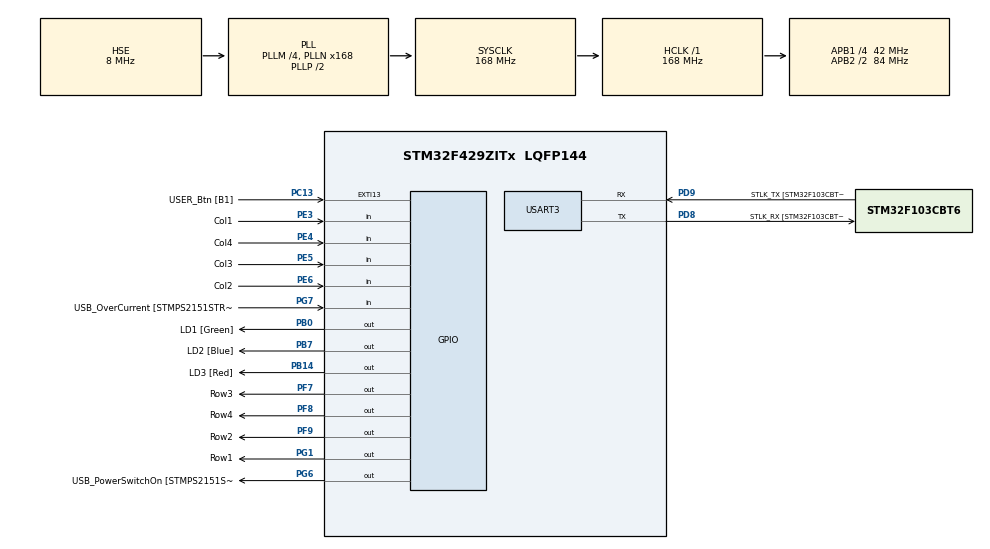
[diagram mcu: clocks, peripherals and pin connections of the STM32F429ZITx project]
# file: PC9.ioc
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Mcu.Family=STM32F4
Mcu.Name=STM32F429ZITx
Mcu.Package=LQFP144
NVIC.PriorityGroup=NVIC_PRIORITYGROUP_4
NVIC.TIM3_IRQn=true\:0\:0\:false\:false\:true\:true\:true\:true
PA1.GPIO_Label=RMII_REF_CLK [LAN8742A-CZ-TR_REFCLK0]
PA1.Signal=ETH_REF_CLK
PA10.GPIO_Label=USB_ID
PA10.Signal=USB_OTG_FS_ID
PA11.GPIO_Label=USB_DM
PA11.Signal=USB_OTG_FS_DM
PA12.GPIO_Label=USB_DP
PA12.Signal=USB_OTG_FS_DP
PA13.GPIO_Label=TMS
PA13.Mode=Serial_Wire
PA13.Signal=SYS_JTMS-SWDIO
PA14.GPIO_Label=TCK
PA14.Mode=Serial_Wire
PA14.Signal=SYS_JTCK-SWCLK
PA2.GPIO_Label=RMII_MDIO [LAN8742A-CZ-TR_MDIO]
PA2.Signal=ETH_MDIO
PA7.GPIO_Label=RMII_CRS_DV [LAN8742A-CZ-TR_CRS_DV]
PA7.Signal=ETH_CRS_DV
PA8.GPIO_Label=USB_SOF [TP1]
PA8.Signal=USB_OTG_FS_SOF
PA9.GPIO_Label=USB_VBUS
PA9.Signal=USB_OTG_FS_VBUS
PB0.GPIO_Label=LD1 [Green]
PB0.Signal=GPIO_Output
PB13.GPIO_Label=RMII_TXD1 [LAN8742A-CZ-TR_TXD1]
PB13.Signal=ETH_TXD1
PB14.GPIO_Label=LD3 [Red]
PB14.Signal=GPIO_Output
PB7.GPIO_Label=LD2 [Blue]
PB7.Signal=GPIO_Output
PC1.GPIO_Label=RMII_MDC [LAN8742A-CZ-TR_MDC]
PC1.Signal=ETH_MDC
PC13.GPIO_Label=USER_Btn [B1]
PC13.Signal=GPXTI13
PC14/OSC32_IN.Mode=LSE-External-Oscillator
PC14/OSC32_IN.Signal=RCC_OSC32_IN
PC15/OSC32_OUT.Mode=LSE-External-Oscillator
PC15/OSC32_OUT.Signal=RCC_OSC32_OUT
PC4.GPIO_Label=RMII_RXD0 [LAN8742A-CZ-TR_RXD0]
PC4.Signal=ETH_RXD0
PC5.GPIO_Label=RMII_RXD1 [LAN8742A-CZ-TR_RXD1]
PC5.Signal=ETH_RXD1
PD8.GPIO_Label=STLK_RX [STM32F103CBT6_PA3]
PD8.Mode=Asynchronous
PD8.Signal=USART3_TX
PD9.GPIO_Label=STLK_TX [STM32F103CBT6_PA2]
PD9.Mode=Asynchronous
PD9.Signal=USART3_RX
PE3.GPIO_Label=Col1
PE3.GPIO_PuPd=GPIO_PULLUP
PE3.Signal=GPIO_Input
PE4.GPIO_Label=Col4
PE4.GPIO_PuPd=GPIO_PULLUP
PE4.Signal=GPIO_Input
PE5.GPIO_Label=Col3
PE5.GPIO_PuPd=GPIO_PULLUP
PE5.Signal=GPIO_Input
PE6.GPIO_Label=Col2
PE6.GPIO_PuPd=GPIO_PULLUP
PE6.Signal=GPIO_Input
PF7.GPIO_Label=Row3
PF7.GPIO_ModeDefaultOutputPP=GPIO_MODE_OUTPUT_OD
PF7.GPIO_PuPd=GPIO_NOPULL
PF7.Signal=GPIO_Output
PF8.GPIO_Label=Row4
PF8.GPIO_ModeDefaultOutputPP=GPIO_MODE_OUTPUT_OD
PF8.GPIO_PuPd=GPIO_NOPULL
PF8.Signal=GPIO_Output
PF9.GPIO_Label=Row2
PF9.GPIO_ModeDefaultOutputPP=GPIO_MODE_OUTPUT_OD
PF9.GPIO_PuPd=GPIO_NOPULL
PF9.Signal=GPIO_Output
PG1.GPIO_Label=Row1
PG1.GPIO_ModeDefaultOutputPP=GPIO_MODE_OUTPUT_OD
PG1.GPIO_PuPd=GPIO_NOPULL
PG1.Signal=GPIO_Output
PG11.GPIO_Label=RMII_TX_EN [LAN8742A-CZ-TR_TXEN]
PG11.Signal=ETH_TX_EN
PG13.GPIO_Label=RMII_TXD0 [LAN8742A-CZ-TR_TXD0]
PG13.Signal=ETH_TXD0
PG6.GPIO_Label=USB_PowerSwitchOn [STMPS2151STR_EN]
PG6.Signal=GPIO_Output
PG7.GPIO_Label=USB_OverCurrent [STMPS2151STR_FAULT]
PG7.Signal=GPIO_Input
PH0/OSC_IN.GPIO_Label=MCO [STM32F103CBT6_PA8]
PH0/OSC_IN.Mode=HSE-External-Clock-Source
PH0/OSC_IN.Signal=RCC_OSC_IN
PH1/OSC_OUT.Mode=HSE-External-Clock-Source
PH1/OSC_OUT.Signal=RCC_OSC_OUT
ProjectManager.HeapSize=0x200
ProjectManager.StackSize=0x400
ProjectManager.TargetToolchain=STM32CubeIDE
RCC.48MHZClocksFreq_Value=48000000
RCC.AHBFreq_Value=168000000
RCC.APB1CLKDivider=RCC_HCLK_DIV4
RCC.APB1Freq_Value=42000000
RCC.APB1TimFreq_Value=84000000
RCC.APB2CLKDivider=RCC_HCLK_DIV2
RCC.APB2Freq_Value=84000000
RCC.APB2TimCLKDivider=2
RCC.APB2TimFreq_Value=168000000
RCC.CortexFreq_Value=168000000
RCC.HCLKFreq_Value=168000000
RCC.HSE_VALUE=8000000
RCC.HSI_VALUE=16000000
RCC.PLLM=4
RCC.PLLMUL=RCC_PLL_MUL9
RCC.PLLN=168
RCC.PLLQ=7
RCC.PLLSourceVirtual=RCC_PLLSOURCE_HSE
RCC.PRESCALERUSB=RCC_USBCLKSOURCE_PLL_DIV1_5
RCC.SYSCLKFreq_VALUE=168000000
RCC.SYSCLKSource=RCC_SYSCLKSOURCE_PLLCLK
RCC.SYSCLKSourceVirtual=RCC_SYSCLKSOURCE_PLLCLK
RCC.USBFreq_Value=48000000
RCC.VCOOutputFreq_Value=336000000
TIM3.AutoReloadPreload=TIM_AUTORELOAD_PRELOAD_DISABLE
TIM3.Period=100
TIM3.Prescaler=8399
USART3.VirtualMode=VM_ASYNC
VP_TIM3_VS_ClockSourceINT.Mode=Internal
board=NUCLEO-F429ZI

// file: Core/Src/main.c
/* USER CODE BEGIN Header */
/**
  ******************************************************************************
  * @file           : main.c
  * @brief          : Main program body
  ******************************************************************************
  * @attention
  *
  * Copyright (c) 2025 STMicroelectronics.
  * All rights reserved.
  *
  * This software is licensed under terms that can be found in the LICENSE file
  * in the root directory of this software component.
  * If no LICENSE file comes with this software, it is provided AS-IS.
  *
  ******************************************************************************
  */
/* USER CODE END Header */
#include "main.h"

/* USER CODE BEGIN Includes */
#include <stdio.h>
#include <string.h>
#include <stdint.h>

/* USER CODE END Includes */

TIM_HandleTypeDef htim3;

UART_HandleTypeDef huart3;

void SystemClock_Config(void);
static void MX_GPIO_Init(void);
static void MX_USART3_UART_Init(void);
static void MX_TIM3_Init(void);

/* USER CODE BEGIN 0 */
int __io_putchar(int ch)
{
	ITM_SendChar(ch);
	return 0;
}

volatile char key = 0;

const char correctSeq[] = {'1', '2', '3',  '4', '#'};

/* USER CODE END 0 */

int main(void)
{

  /* MCU Configuration--------------------------------------------------------*/

  /* Reset of all peripherals, Initializes the Flash interface and the Systick. */
  HAL_Init();

  /* Configure the system clock */
  SystemClock_Config();

  /* Initialize all configured peripherals */
  MX_GPIO_Init();
  MX_USART3_UART_Init();
  MX_TIM3_Init();
  /* USER CODE BEGIN 2 */
  HAL_TIM_Base_Start_IT(&htim3);

  /* USER CODE END 2 */

  /* Infinite loop */
  /* USER CODE BEGIN WHILE */
  while (1)
  {
	static uint8_t pressIndex = 0;
	static char seq[sizeof(correctSeq)];

	if(pressIndex == sizeof(correctSeq))
	{
		if(memcmp(seq, correctSeq, sizeof(correctSeq)) == 0)
		{
		  printf("Correct code entered!\n");
		  HAL_GPIO_WritePin(LD2_GPIO_Port, LD2_Pin, 1);
		  HAL_Delay(100);
		  HAL_GPIO_WritePin(LD2_GPIO_Port, LD2_Pin, 0);
		}
		else
		{
		  printf("Incorrect code entered!\n");
		  HAL_GPIO_WritePin(LD1_GPIO_Port, LD1_Pin, 1);
		  HAL_Delay(1000);
		  HAL_GPIO_WritePin(LD1_GPIO_Port, LD1_Pin, 0);
		}
		pressIndex = 0;
	}

  static uint32_t lastPressTime = 0;
  if (HAL_GetTick() - lastPressTime > 5000 && pressIndex)
  {
      HAL_GPIO_WritePin(LD1_GPIO_Port, LD1_Pin, 1);
      HAL_Delay(100);
      HAL_GPIO_WritePin(LD1_GPIO_Port, LD1_Pin, 0);
    pressIndex = 0;
    lastPressTime = HAL_GetTick();
    printf("Input timed out. Sequence reset.\n");
  }

  if (key)
  {
	lastPressTime = HAL_GetTick();
    printf("Key Pressed: %c\n", key);
    seq[pressIndex++] = key;
    HAL_Delay(200);
    key = 0;

  }

    /* USER CODE END WHILE */

  }
}

void SystemClock_Config(void)
{
  RCC_OscInitTypeDef RCC_OscInitStruct = {0};
  RCC_ClkInitTypeDef RCC_ClkInitStruct = {0};

  /** Configure the main internal regulator output voltage
  */
  __HAL_RCC_PWR_CLK_ENABLE();
  __HAL_PWR_VOLTAGESCALING_CONFIG(PWR_REGULATOR_VOLTAGE_SCALE1);

  /** Initializes the RCC Oscillators according to the specified parameters
  * in the RCC_OscInitTypeDef structure.
  */
  RCC_OscInitStruct.OscillatorType = RCC_OSCILLATORTYPE_HSE;
  RCC_OscInitStruct.HSEState = RCC_HSE_BYPASS;
  RCC_OscInitStruct.PLL.PLLState = RCC_PLL_ON;
  RCC_OscInitStruct.PLL.PLLSource = RCC_PLLSOURCE_HSE;
  RCC_OscInitStruct.PLL.PLLM = 4;
  RCC_OscInitStruct.PLL.PLLN = 168;
  RCC_OscInitStruct.PLL.PLLP = RCC_PLLP_DIV2;
  RCC_OscInitStruct.PLL.PLLQ = 7;
  if (HAL_RCC_OscConfig(&RCC_OscInitStruct) != HAL_OK)
  {
    Error_Handler();
  }

  /** Initializes the CPU, AHB and APB buses clocks
  */
  RCC_ClkInitStruct.ClockType = RCC_CLOCKTYPE_HCLK|RCC_CLOCKTYPE_SYSCLK
                              |RCC_CLOCKTYPE_PCLK1|RCC_CLOCKTYPE_PCLK2;
  RCC_ClkInitStruct.SYSCLKSource = RCC_SYSCLKSOURCE_PLLCLK;
  RCC_ClkInitStruct.AHBCLKDivider = RCC_SYSCLK_DIV1;
  RCC_ClkInitStruct.APB1CLKDivider = RCC_HCLK_DIV4;
  RCC_ClkInitStruct.APB2CLKDivider = RCC_HCLK_DIV2;

  if (HAL_RCC_ClockConfig(&RCC_ClkInitStruct, FLASH_LATENCY_5) != HAL_OK)
  {
    Error_Handler();
  }
}

static void MX_TIM3_Init(void)
{

  TIM_ClockConfigTypeDef sClockSourceConfig = {0};
  TIM_MasterConfigTypeDef sMasterConfig = {0};

  htim3.Instance = TIM3;
  htim3.Init.Prescaler = 8399;
  htim3.Init.CounterMode = TIM_COUNTERMODE_UP;
  htim3.Init.Period = 100;
  htim3.Init.ClockDivision = TIM_CLOCKDIVISION_DIV1;
  htim3.Init.AutoReloadPreload = TIM_AUTORELOAD_PRELOAD_DISABLE;
  if (HAL_TIM_Base_Init(&htim3) != HAL_OK)
  {
    Error_Handler();
  }
  sClockSourceConfig.ClockSource = TIM_CLOCKSOURCE_INTERNAL;
  if (HAL_TIM_ConfigClockSource(&htim3, &sClockSourceConfig) != HAL_OK)
  {
    Error_Handler();
  }
  sMasterConfig.MasterOutputTrigger = TIM_TRGO_RESET;
  sMasterConfig.MasterSlaveMode = TIM_MASTERSLAVEMODE_DISABLE;
  if (HAL_TIMEx_MasterConfigSynchronization(&htim3, &sMasterConfig) != HAL_OK)
  {
    Error_Handler();
  }

}

static void MX_USART3_UART_Init(void)
{

  huart3.Instance = USART3;
  huart3.Init.BaudRate = 115200;
  huart3.Init.WordLength = UART_WORDLENGTH_8B;
  huart3.Init.StopBits = UART_STOPBITS_1;
  huart3.Init.Parity = UART_PARITY_NONE;
  huart3.Init.Mode = UART_MODE_TX_RX;
  huart3.Init.HwFlowCtl = UART_HWCONTROL_NONE;
  huart3.Init.OverSampling = UART_OVERSAMPLING_16;
  if (HAL_UART_Init(&huart3) != HAL_OK)
  {
    Error_Handler();
  }

}

static void MX_GPIO_Init(void)
{
  GPIO_InitTypeDef GPIO_InitStruct = {0};

  /* GPIO Ports Clock Enable */
  __HAL_RCC_GPIOE_CLK_ENABLE();
  __HAL_RCC_GPIOC_CLK_ENABLE();
  __HAL_RCC_GPIOF_CLK_ENABLE();
  __HAL_RCC_GPIOH_CLK_ENABLE();
  __HAL_RCC_GPIOA_CLK_ENABLE();
  __HAL_RCC_GPIOB_CLK_ENABLE();
  __HAL_RCC_GPIOG_CLK_ENABLE();
  __HAL_RCC_GPIOD_CLK_ENABLE();

  /*Configure GPIO pin Output Level */
  HAL_GPIO_WritePin(GPIOF, Row3_Pin|Row4_Pin|Row2_Pin, GPIO_PIN_RESET);

  /*Configure GPIO pin Output Level */
  HAL_GPIO_WritePin(GPIOB, LD1_Pin|LD3_Pin|LD2_Pin, GPIO_PIN_RESET);

  /*Configure GPIO pin Output Level */
  HAL_GPIO_WritePin(GPIOG, Row1_Pin|USB_PowerSwitchOn_Pin, GPIO_PIN_RESET);

  /*Configure GPIO pins : Col1_Pin Col4_Pin Col3_Pin Col2_Pin */
  GPIO_InitStruct.Pin = Col1_Pin|Col4_Pin|Col3_Pin|Col2_Pin;
  GPIO_InitStruct.Mode = GPIO_MODE_INPUT;
  GPIO_InitStruct.Pull = GPIO_PULLUP;
  HAL_GPIO_Init(GPIOE, &GPIO_InitStruct);

  /*Configure GPIO pin : USER_Btn_Pin */
  GPIO_InitStruct.Pin = USER_Btn_Pin;
  GPIO_InitStruct.Mode = GPIO_MODE_IT_RISING;
  GPIO_InitStruct.Pull = GPIO_NOPULL;
  HAL_GPIO_Init(USER_Btn_GPIO_Port, &GPIO_InitStruct);

  /*Configure GPIO pins : Row3_Pin Row4_Pin Row2_Pin */
  GPIO_InitStruct.Pin = Row3_Pin|Row4_Pin|Row2_Pin;
  GPIO_InitStruct.Mode = GPIO_MODE_OUTPUT_OD;
  GPIO_InitStruct.Pull = GPIO_NOPULL;
  GPIO_InitStruct.Speed = GPIO_SPEED_FREQ_LOW;
  HAL_GPIO_Init(GPIOF, &GPIO_InitStruct);

  /*Configure GPIO pins : RMII_MDC_Pin RMII_RXD0_Pin RMII_RXD1_Pin */
  GPIO_InitStruct.Pin = RMII_MDC_Pin|RMII_RXD0_Pin|RMII_RXD1_Pin;
  GPIO_InitStruct.Mode = GPIO_MODE_AF_PP;
  GPIO_InitStruct.Pull = GPIO_NOPULL;
  GPIO_InitStruct.Speed = GPIO_SPEED_FREQ_VERY_HIGH;
  GPIO_InitStruct.Alternate = GPIO_AF11_ETH;
  HAL_GPIO_Init(GPIOC, &GPIO_InitStruct);

  /*Configure GPIO pins : RMII_REF_CLK_Pin RMII_MDIO_Pin RMII_CRS_DV_Pin */
  GPIO_InitStruct.Pin = RMII_REF_CLK_Pin|RMII_MDIO_Pin|RMII_CRS_DV_Pin;
  GPIO_InitStruct.Mode = GPIO_MODE_AF_PP;
  GPIO_InitStruct.Pull = GPIO_NOPULL;
  GPIO_InitStruct.Speed = GPIO_SPEED_FREQ_VERY_HIGH;
  GPIO_InitStruct.Alternate = GPIO_AF11_ETH;
  HAL_GPIO_Init(GPIOA, &GPIO_InitStruct);

  /*Configure GPIO pins : LD1_Pin LD3_Pin LD2_Pin */
  GPIO_InitStruct.Pin = LD1_Pin|LD3_Pin|LD2_Pin;
  GPIO_InitStruct.Mode = GPIO_MODE_OUTPUT_PP;
  GPIO_InitStruct.Pull = GPIO_NOPULL;
  GPIO_InitStruct.Speed = GPIO_SPEED_FREQ_LOW;
  HAL_GPIO_Init(GPIOB, &GPIO_InitStruct);

  /*Configure GPIO pin : Row1_Pin */
  GPIO_InitStruct.Pin = Row1_Pin;
  GPIO_InitStruct.Mode = GPIO_MODE_OUTPUT_OD;
  GPIO_InitStruct.Pull = GPIO_NOPULL;
  GPIO_InitStruct.Speed = GPIO_SPEED_FREQ_LOW;
  HAL_GPIO_Init(Row1_GPIO_Port, &GPIO_InitStruct);

  /*Configure GPIO pin : RMII_TXD1_Pin */
  GPIO_InitStruct.Pin = RMII_TXD1_Pin;
  GPIO_InitStruct.Mode = GPIO_MODE_AF_PP;
  GPIO_InitStruct.Pull = GPIO_NOPULL;
  GPIO_InitStruct.Speed = GPIO_SPEED_FREQ_VERY_HIGH;
  GPIO_InitStruct.Alternate = GPIO_AF11_ETH;
  HAL_GPIO_Init(RMII_TXD1_GPIO_Port, &GPIO_InitStruct);

  /*Configure GPIO pin : USB_PowerSwitchOn_Pin */
  GPIO_InitStruct.Pin = USB_PowerSwitchOn_Pin;
  GPIO_InitStruct.Mode = GPIO_MODE_OUTPUT_PP;
  GPIO_InitStruct.Pull = GPIO_NOPULL;
  GPIO_InitStruct.Speed = GPIO_SPEED_FREQ_LOW;
  HAL_GPIO_Init(USB_PowerSwitchOn_GPIO_Port, &GPIO_InitStruct);

  /*Configure GPIO pin : USB_OverCurrent_Pin */
  GPIO_InitStruct.Pin = USB_OverCurrent_Pin;
  GPIO_InitStruct.Mode = GPIO_MODE_INPUT;
  GPIO_InitStruct.Pull = GPIO_NOPULL;
  HAL_GPIO_Init(USB_OverCurrent_GPIO_Port, &GPIO_InitStruct);

  /*Configure GPIO pins : USB_SOF_Pin USB_ID_Pin USB_DM_Pin USB_DP_Pin */
  GPIO_InitStruct.Pin = USB_SOF_Pin|USB_ID_Pin|USB_DM_Pin|USB_DP_Pin;
  GPIO_InitStruct.Mode = GPIO_MODE_AF_PP;
  GPIO_InitStruct.Pull = GPIO_NOPULL;
  GPIO_InitStruct.Speed = GPIO_SPEED_FREQ_VERY_HIGH;
  GPIO_InitStruct.Alternate = GPIO_AF10_OTG_FS;
  HAL_GPIO_Init(GPIOA, &GPIO_InitStruct);

  /*Configure GPIO pin : USB_VBUS_Pin */
  GPIO_InitStruct.Pin = USB_VBUS_Pin;
  GPIO_InitStruct.Mode = GPIO_MODE_INPUT;
  GPIO_InitStruct.Pull = GPIO_NOPULL;
  HAL_GPIO_Init(USB_VBUS_GPIO_Port, &GPIO_InitStruct);

  /*Configure GPIO pins : RMII_TX_EN_Pin RMII_TXD0_Pin */
  GPIO_InitStruct.Pin = RMII_TX_EN_Pin|RMII_TXD0_Pin;
  GPIO_InitStruct.Mode = GPIO_MODE_AF_PP;
  GPIO_InitStruct.Pull = GPIO_NOPULL;
  GPIO_InitStruct.Speed = GPIO_SPEED_FREQ_VERY_HIGH;
  GPIO_InitStruct.Alternate = GPIO_AF11_ETH;
  HAL_GPIO_Init(GPIOG, &GPIO_InitStruct);

}

/* USER CODE BEGIN 4 */
void HAL_TIM_PeriodElapsedCallback(TIM_HandleTypeDef *htim)
{
  static uint8_t row = 0;
  static const char keyboard[4][4] = {
      {'1', '2', '3', 'A'},
      {'4', '5', '6', 'B'},
      {'7', '8', '9', 'C'},
      {'*', '0', '#', 'D'},
  };

  if (key == 0)
  {
    if (HAL_GPIO_ReadPin(Col1_GPIO_Port, Col1_Pin) == GPIO_PIN_RESET)
    {
      key = keyboard[row][0];
    }
    if (HAL_GPIO_ReadPin(Col2_GPIO_Port, Col2_Pin) == GPIO_PIN_RESET)
    {
      key = keyboard[row][1];
    }
    if (HAL_GPIO_ReadPin(Col3_GPIO_Port, Col3_Pin) == GPIO_PIN_RESET)
    {
      key = keyboard[row][2];
    }
    if (HAL_GPIO_ReadPin(Col4_GPIO_Port, Col4_Pin) == GPIO_PIN_RESET)
    {
      key = keyboard[row][3];
    }
  }

  HAL_GPIO_WritePin(Row1_GPIO_Port, Row1_Pin, GPIO_PIN_SET);
  HAL_GPIO_WritePin(Row2_GPIO_Port, Row2_Pin, GPIO_PIN_SET);
  HAL_GPIO_WritePin(Row3_GPIO_Port, Row3_Pin, GPIO_PIN_SET);
  HAL_GPIO_WritePin(Row4_GPIO_Port, Row4_Pin, GPIO_PIN_SET);

  switch (row)
  {
  case 0:
    row = 1;
    HAL_GPIO_WritePin(Row2_GPIO_Port, Row2_Pin, GPIO_PIN_RESET);
    break;

  case 1 :
   row = 2;
    HAL_GPIO_WritePin(Row3_GPIO_Port, Row3_Pin, GPIO_PIN_RESET);
    break;

  case 2 :
    row = 3;
    HAL_GPIO_WritePin(Row4_GPIO_Port, Row4_Pin, GPIO_PIN_RESET);
    break;

  case 3 :
    row = 0;
    HAL_GPIO_WritePin(Row1_GPIO_Port, Row1_Pin, GPIO_PIN_RESET);
    break;

  }
}

/* USER CODE END 4 */

void Error_Handler(void)
{
  __disable_irq();
  while (1)
  {
  }
}
